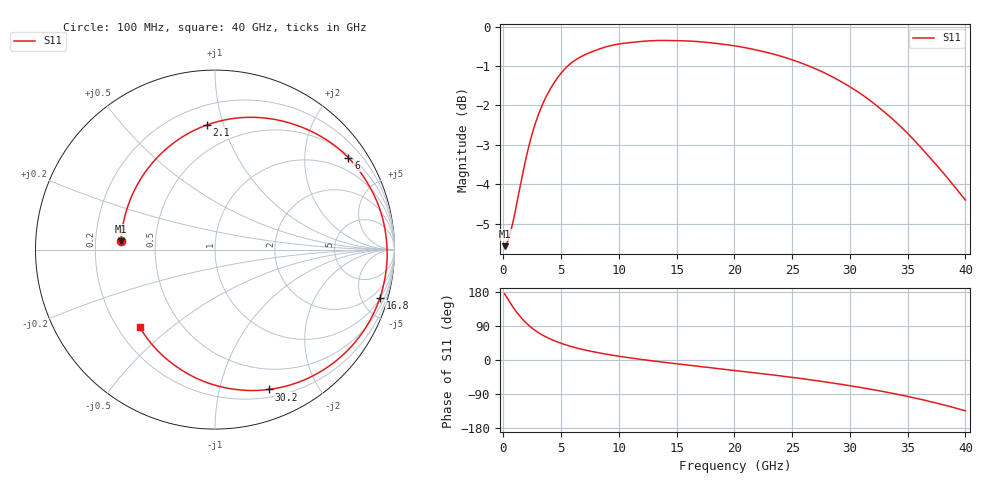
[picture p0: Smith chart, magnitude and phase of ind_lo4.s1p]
#  Hz  S  RI  R  50
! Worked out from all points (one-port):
!   400 points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, 100 MHz to 40 GHz, reference 50 ohm
!   lowest |S11| = -5.6 dB at 100 MHz (marker M1), VSWR 3.22, Z = 15.5 + j2.02 ohm
!   |S11| at or under -10 dB: nowhere
!   S11 on the Smith chart (normalised r, x): 100 MHz: 0.31, +0.04; 2.1 GHz: 0.33, +0.88; 6 GHz: 0.57, +3.13; 16.8 GHz: 1.05, -6.81; 30.2 GHz: 0.28, -1.42; 40 GHz: 0.29, -0.39
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1e8  -0.5243 0.047
6e8  -0.4743 0.2732
9e8  -0.4137 0.3943
1.2e9  -0.3353 0.4988
1.6e9  -0.2123 0.6076
2.1e9  -0.0467 0.694
2.7e9  0.1437 0.7351
3.5e9  0.3559 0.7207
4.3e9  0.5179 0.6677
5.1e9  0.6413 0.5981
6e9  0.7438 0.5111
6.8e9  0.8086 0.4337
7.8e9  0.8657 0.343
8.9e9  0.9092 0.2504
1.01e10  0.9384 0.1555
1.25e10  0.9593 -0.0123
1.51e10  0.9443 -0.173
1.68e10  0.919 -0.2694
2.01e10  0.8366 -0.4401
2.27e10  0.741 -0.5594
2.51e10  0.6273 -0.6548
2.77e10  0.4754 -0.7349
3.01e10  0.3095 -0.7779
3.02e10  0.3021 -0.7789
3.27e10  0.1076 -0.7782
3.51e10  -0.0864 -0.7244
3.76e10  -0.2748 -0.6052
4e10  -0.4187 -0.433
